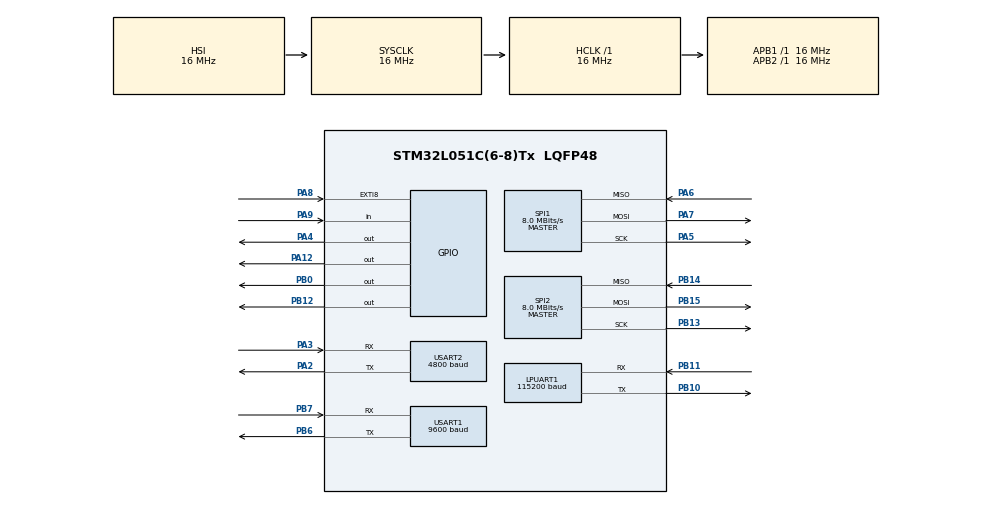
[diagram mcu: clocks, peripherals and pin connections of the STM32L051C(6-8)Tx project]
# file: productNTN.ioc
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LPUART1.BaudRate=115200
LPUART1.WordLength=UART_WORDLENGTH_8B
Mcu.Family=STM32L0
Mcu.Name=STM32L051C(6-8)Tx
Mcu.Package=LQFP48
NVIC.EXTI4_15_IRQn=true\:0\:0\:false\:false\:true\:true\:true\:true
NVIC.LPUART1_IRQn=true\:0\:0\:false\:false\:true\:true\:true\:true
NVIC.SPI1_IRQn=true\:0\:0\:false\:false\:true\:true\:true\:true
NVIC.USART1_IRQn=true\:0\:0\:false\:false\:true\:true\:true\:true
NVIC.USART2_IRQn=true\:0\:0\:false\:false\:true\:true\:true\:true
PA12.Signal=GPIO_Output
PA13.Mode=Serial_Wire
PA13.Signal=SYS_SWDIO
PA14.Mode=Serial_Wire
PA14.Signal=SYS_SWCLK
PA2.Mode=Asynchronous
PA2.Signal=USART2_TX
PA3.Mode=Asynchronous
PA3.Signal=USART2_RX
PA4.PinState=GPIO_PIN_SET
PA4.Signal=GPIO_Output
PA5.Mode=Full_Duplex_Master
PA5.Signal=SPI1_SCK
PA6.Mode=Full_Duplex_Master
PA6.Signal=SPI1_MISO
PA7.Mode=Full_Duplex_Master
PA7.Signal=SPI1_MOSI
PA8.GPIO_ModeDefaultEXTI=GPIO_MODE_IT_RISING
PA8.GPIO_PuPd=GPIO_NOPULL
PA8.Signal=GPXTI8
PA9.Signal=GPIO_Input
PB0.GPIO_Speed=GPIO_SPEED_FREQ_HIGH
PB0.PinState=GPIO_PIN_SET
PB0.Signal=GPIO_Output
PB10.Mode=Asynchronous
PB10.Signal=LPUART1_TX
PB11.Mode=Asynchronous
PB11.Signal=LPUART1_RX
PB12.Signal=GPIO_Output
PB13.Mode=Full_Duplex_Master
PB13.Signal=SPI2_SCK
PB14.Mode=Full_Duplex_Master
PB14.Signal=SPI2_MISO
PB15.Mode=Full_Duplex_Master
PB15.Signal=SPI2_MOSI
PB6.Mode=Asynchronous
PB6.Signal=USART1_TX
PB7.Mode=Asynchronous
PB7.Signal=USART1_RX
PC14-OSC32_IN.Mode=LSE-External-Oscillator
PC14-OSC32_IN.Signal=RCC_OSC32_IN
PC15-OSC32_OUT.Mode=LSE-External-Oscillator
PC15-OSC32_OUT.Signal=RCC_OSC32_OUT
ProjectManager.HeapSize=0x200
ProjectManager.StackSize=0x400
ProjectManager.TargetToolchain=STM32CubeIDE
RCC.AHBFreq_Value=16000000
RCC.APB1Freq_Value=16000000
RCC.APB1TimFreq_Value=16000000
RCC.APB2Freq_Value=16000000
RCC.APB2TimFreq_Value=16000000
RCC.HCLKFreq_Value=16000000
RCC.HSE_VALUE=8000000
RCC.HSI16_VALUE=16000000
RCC.HSI_VALUE=16000000
RCC.MSI_VALUE=2097000
RCC.SYSCLKFreq_VALUE=16000000
RCC.SYSCLKSource=RCC_SYSCLKSOURCE_HSI
RCC.VCOOutputFreq_Value=48000000
SPI1.CalculateBaudRate=8.0 MBits/s
SPI1.Direction=SPI_DIRECTION_2LINES
SPI1.Mode=SPI_MODE_MASTER
SPI1.VirtualType=VM_MASTER
SPI2.CalculateBaudRate=8.0 MBits/s
SPI2.Direction=SPI_DIRECTION_2LINES
SPI2.Mode=SPI_MODE_MASTER
SPI2.VirtualType=VM_MASTER
USART1.BaudRate=9600
USART1.VirtualMode-Asynchronous=VM_ASYNC
USART2.BaudRate=4800
USART2.VirtualMode-Asynchronous=VM_ASYNC
board=custom

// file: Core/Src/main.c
/* USER CODE BEGIN Header */
/**
  ******************************************************************************
  * @file           : main.c
  * @brief          : Main program body
  ******************************************************************************
  * @attention
  *
  * Copyright (c) 2025 STMicroelectronics.
  * All rights reserved.
  *
  * This software is licensed under terms that can be found in the LICENSE file
  * in the root directory of this software component.
  * If no LICENSE file comes with this software, it is provided AS-IS.
  *
  ******************************************************************************
  */
/* USER CODE END Header */
#include "main.h"
#include "usart.h"
#include "spi.h"
#include "gpio.h"

/* USER CODE BEGIN Includes */
#include "toNTN.h"
#include <string.h>
#include <stdio.h>
#include <stdlib.h>
#include "rs485.h"
#include "lorarx.h"     // ⭐ 新增：声明 loraSPI_ReceiveLoop / Lora_SimulateRxTestOnce

#include "ntn_config.h"
#include "usart.h"

/* USER CODE END Includes */

/* USER CODE BEGIN PD */
#define NTN_STABLE_MS 15000u
/* USER CODE END PD */

/* USER CODE BEGIN PV */
uint8_t lpuart_rx;      // 来自 PC 的单字节
uint8_t ntn_rx;         // 来自 NTN 的单字节

// PC -> NTN 命令缓冲（按行缓存，直到 CRLF）
uint8_t  pc_cmd_buf[128];
volatile uint16_t pc_cmd_idx   = 0;
volatile uint8_t  pc_cmd_ready = 0;

extern NetConfig g_ntn_cfg;
extern volatile int g_ntn_cfg_ready;
extern volatile int g_ntn_hello_done;
extern const void* g_llcc68_ctx;
extern volatile uint8_t g_llcc68_last_status;
// POWERON 检测用：只记录时间戳，不在中断里清大缓冲
static volatile uint32_t g_last_poweron_tick = 0;

volatile uint8_t g_lora_irq = 0;

// ✅ POWERON 按行检测用（避免 strstr 全缓冲导致反复命中）
static char     ntn_line[128];
static uint16_t ntn_line_idx = 0;

/* USER CODE END PV */

void SystemClock_Config(void);

/* USER CODE BEGIN 0 */
//波特率配置被成功写入硬件并生效//
void NTN_Config_OnSaved(const NtnConfig *cfg)
{
    // 只处理 RS485 USART2（安全）
    if (cfg->rs485_baud != 0 && huart2.Init.BaudRate != cfg->rs485_baud)
    {
        // 停掉正在进行的接收（更稳）
        HAL_UART_AbortReceive(&huart2);

        // 重新初始化 UART2
        HAL_UART_DeInit(&huart2);
        huart2.Init.BaudRate = cfg->rs485_baud;
        HAL_UART_Init(&huart2);

        // 重新启动 1-byte IT 接收
        RS485_UART_Init();

        // 可选：打印确认
        char buf[64];
        int n = snprintf(buf, sizeof(buf), "[CFG] RS485 baud applied: %lu\r\n",
                         (unsigned long)cfg->rs485_baud);
        HAL_UART_Transmit(&hlpuart1, (uint8_t*)buf, n, 200);
    }
}

/* USER CODE END 0 */

int main(void)
{

  /* MCU Configuration--------------------------------------------------------*/

  /* Reset of all peripherals, Initializes the Flash interface and the Systick. */
  HAL_Init();

  /* Configure the system clock */
  SystemClock_Config();

  /* Initialize all configured peripherals */
  MX_GPIO_Init();
  MX_LPUART1_UART_Init();
  MX_USART1_UART_Init();
  MX_USART2_UART_Init();
  MX_SPI1_Init();
  MX_SPI2_Init();
  /* USER CODE BEGIN 2 */
  NTN_Config_Init();
 HAL_UART_Receive_IT(&hlpuart1, &lpuart_rx, 1); // PC
  HAL_UART_Receive_IT(&huart1,   &ntn_rx,  1); // NTN

  // 上电后先给模块一些时间（你原来有 10s，这里保留）
  g_last_poweron_tick = HAL_GetTick();
  HAL_Delay(10000);

  // RS485
  RS485_UART_Init();

  // LoRa
  printf("BOOT RX\r\n");

  LoraRx_Init();
  /* USER CODE END 2 */

  /* Infinite loop */
  /* USER CODE BEGIN WHILE */

  uint32_t next_try_tick = HAL_GetTick() + 10000;
  uint32_t last_tick = 0;

  while (1)
  {

	  // 1) LoRa 永远处理（保证接收、回调、入队不断）
	      LoraRx_Process();

	      if (pc_cmd_ready)
	      {
	          __disable_irq();
	          uint16_t len = pc_cmd_idx;
	          pc_cmd_idx   = 0;
	          pc_cmd_ready = 0;
	          __enable_irq();

	          if (len > 0)
	          {
	              if (len >= sizeof(pc_cmd_buf)) len = sizeof(pc_cmd_buf) - 1;
	              pc_cmd_buf[len] = 0;

	              int consumed = 0;

	              // 只拦截配置命令（白名单）
	              if (!strncasecmp((char*)pc_cmd_buf, "AT+NTNCFG", 9) ||
	                  !strncasecmp((char*)pc_cmd_buf, "NTNCFG", 5))
	              {
	                  int r = NTN_Config_ProcessLine((const char*)pc_cmd_buf);

	                  if (r != 0)
	                  {
	                      consumed = 1;
	                      const char *resp = (r > 0) ? "OK\r\n" : "ERROR\r\n";
	                      HAL_UART_Transmit(&hlpuart1, (uint8_t*)resp, strlen(resp), 200);
	                  }
	              }

	              // 没被本地命令消费掉，才透传给 NTN
	              if (!consumed)
	              {
	                  char b[64];
	                  int n = snprintf(b, sizeof(b), "[PT] send to NTN len=%u\r\n", len);
	                  HAL_UART_Transmit(&hlpuart1, (uint8_t*)b, n, 200);
	                  HAL_UART_Transmit(&huart1, pc_cmd_buf, len, 1000);
	              }
	          }
	      }

	      // 2) 稳定窗口：只阻挡 NTN 自动流程，不阻挡 LoRa
	      static uint8_t stable_done = 0;

	      if (!stable_done)
	      {
	          if (HAL_GetTick() - g_last_poweron_tick < NTN_STABLE_MS)
	          {
	              HAL_Delay(10);
	              // 不要 continue，也可以；但这里 continue 没问题，因为只会持续15秒

	          }
	          stable_done = 1;
	      }

	       //C) 第一步：拉配置（cfg_ready==0 才拉）
	 	     if (g_ntn_cfg_ready == 0 && HAL_GetTick() >= next_try_tick)
	 	     {
	 	         g_ntn_cfg_ready  = 0;
	 	         g_ntn_hello_done = 0;

	 	         NTN_SendTest();   // 阻塞拉 cfg

	 	         if (g_ntn_cfg_ready)
	 	         {
	 	             printf("[MAIN] immediate HELLO after CFG\r\n");
	 	             HAL_Delay(1500);
	 	             int ok = NTN_SendHelloUsingCfg();
	 	             printf("[MAIN] HELLO result = %d\r\n", ok);

	 	             if (ok)
	 	             {
	 	                 g_ntn_hello_done = 1;
	 	                 printf("HELLO OK -> READY\r\n");
	 	             }
	 	             else
	 	             {
	 	                 g_ntn_cfg_ready  = 0;
	 	                 g_ntn_hello_done = 0;
	 	                 next_try_tick = HAL_GetTick() + 5000;
	 	             }
	 	         }

	 	         next_try_tick = HAL_GetTick() + 20000;
	 	     }

	      // D) 第二步：cfg_ready 之后发 hello
	 	   //  D) cfg_ready 之后发 hello：cfg ready 立刻尝试一次，失败再每 5s 重试
	 	    static uint32_t last_hello_try = 0;
	 	    static uint8_t  hello_tried_once_after_cfg = 0;   // 0=还没在本轮cfg ready后尝试过

	 	   // 如果 cfg 失效了，要把一次性标志复位
	 	    if (!g_ntn_cfg_ready) {
	 	        hello_tried_once_after_cfg = 0;
	 	    }

	 	    if (g_ntn_cfg_ready && !g_ntn_hello_done)
	 	    {
	 	        uint32_t now = HAL_GetTick();

	 	        int should_try = 0;

	 	       //  ✅ 1) cfg ready 后，立刻尝试一次（不等 5s）
	 	        if (!hello_tried_once_after_cfg) {
	 	            should_try = 1;
	 	            hello_tried_once_after_cfg = 1;
	 	        }
	 	        // ✅ 2) 后续失败：每 5 秒重试
	 	        else if (now - last_hello_try >= 5000) {
	 	            should_try = 1;
	 	        }

	 	        if (should_try)
	 	        {
	 	            last_hello_try = now;

	 	            printf("[MAIN] HELLO using CFG...\r\n");
	 	            int ok = NTN_SendHelloUsingCfg();
	 	            printf("[MAIN] HELLO result = %d\r\n", ok);

	 	            if (ok)
	 	            {
	 	                g_ntn_hello_done = 1;
	 	                printf("HELLO OK -> READY\r\n");

	 	                // ✅ 成功后复位节流计时（可选）
	 	                last_hello_try = 0;
	 	            }
	 	            else
	 	           {
	 	                // ✅ 如果 hello 失败，建议让系统重新拉 cfg（尤其遇到 CME8002/timeout）
	 	                // 如果你的 NTN_SendHelloUsingCfg 内部已经会把 cfg_ready=0，那这里不会重复影响
	 	               g_ntn_cfg_ready = 0;
	 	                // 同时也可以确保复用 socket 不再被使用（保险）
	 	               NTN_Invalidate_UserSock_AndCfg("[MAIN] HELLO failed -> invalidate cfg");

	 	                printf("[MAIN] HELLO failed -> invalidate CFG, refetch\r\n");
	 	            }
	 	        }
	 	    }

	      // E) RS485 周期任务
	      uint32_t now = HAL_GetTick();
	      if (!wind_active && now - last_tick >= 2000)
	      {
	          RS485_WindQuery_Start();

	          last_tick = now;
	      }
	        RS485_WindQuery_Poll();

	      // F) READY 后 flush LoRa 队列（节流）
	      static uint32_t last_flush = 0;
	      if (g_ntn_cfg_ready && g_ntn_hello_done)
	      {
	          if (HAL_GetTick() - last_flush >= 1000)
	         {
	              last_flush = HAL_GetTick();
	              NTN_FlushLoRaQueue();
	          }
	      }

	      HAL_Delay(1); // 放最后，给一点 CPU 让步

    /* USER CODE END WHILE */

  }
}

void SystemClock_Config(void)
{
  RCC_OscInitTypeDef RCC_OscInitStruct = {0};
  RCC_ClkInitTypeDef RCC_ClkInitStruct = {0};
  RCC_PeriphCLKInitTypeDef PeriphClkInit = {0};

  /** Configure the main internal regulator output voltage
  */
  __HAL_PWR_VOLTAGESCALING_CONFIG(PWR_REGULATOR_VOLTAGE_SCALE1);

  /** Initializes the RCC Oscillators according to the specified parameters
  * in the RCC_OscInitTypeDef structure.
  */
  RCC_OscInitStruct.OscillatorType = RCC_OSCILLATORTYPE_HSI;
  RCC_OscInitStruct.HSIState = RCC_HSI_ON;
  RCC_OscInitStruct.HSICalibrationValue = RCC_HSICALIBRATION_DEFAULT;
  RCC_OscInitStruct.PLL.PLLState = RCC_PLL_NONE;
  if (HAL_RCC_OscConfig(&RCC_OscInitStruct) != HAL_OK)
  {
    Error_Handler();
  }

  /** Initializes the CPU, AHB and APB buses clocks
  */
  RCC_ClkInitStruct.ClockType = RCC_CLOCKTYPE_HCLK|RCC_CLOCKTYPE_SYSCLK
                              |RCC_CLOCKTYPE_PCLK1|RCC_CLOCKTYPE_PCLK2;
  RCC_ClkInitStruct.SYSCLKSource = RCC_SYSCLKSOURCE_HSI;
  RCC_ClkInitStruct.AHBCLKDivider = RCC_SYSCLK_DIV1;
  RCC_ClkInitStruct.APB1CLKDivider = RCC_HCLK_DIV1;
  RCC_ClkInitStruct.APB2CLKDivider = RCC_HCLK_DIV1;

  if (HAL_RCC_ClockConfig(&RCC_ClkInitStruct, FLASH_LATENCY_0) != HAL_OK)
  {
    Error_Handler();
  }
  PeriphClkInit.PeriphClockSelection = RCC_PERIPHCLK_USART1|RCC_PERIPHCLK_USART2
                              |RCC_PERIPHCLK_LPUART1;
  PeriphClkInit.Usart1ClockSelection = RCC_USART1CLKSOURCE_PCLK2;
  PeriphClkInit.Usart2ClockSelection = RCC_USART2CLKSOURCE_PCLK1;
  PeriphClkInit.Lpuart1ClockSelection = RCC_LPUART1CLKSOURCE_PCLK1;
  if (HAL_RCCEx_PeriphCLKConfig(&PeriphClkInit) != HAL_OK)
  {
    Error_Handler();
  }
}

/* USER CODE BEGIN 4 */

// 串口中断回调：做透传桥

void HAL_UART_RxCpltCallback(UART_HandleTypeDef *huart)
{
    // PC -> MCU (LPUART1)
    if (huart->Instance == LPUART1)
    {
        uint8_t ch = lpuart_rx;

        if (pc_cmd_idx < sizeof(pc_cmd_buf))
        {
            pc_cmd_buf[pc_cmd_idx++] = ch;

            // CRLF: 0x0D 0x0A
            if (ch == 0x0A && pc_cmd_idx >= 2 &&
                pc_cmd_buf[pc_cmd_idx - 2] == 0x0D)
            {
                pc_cmd_ready = 1;
            }
        }
        else
        {
            pc_cmd_idx   = 0;
            pc_cmd_ready = 0;
        }

        HAL_UART_Receive_IT(&hlpuart1, &lpuart_rx, 1);
        return;
    }

    // RS485 -> MCU (USART2)
    if (huart->Instance == USART2)
    {
        RS485_UART_RxHandler();
        HAL_UART_Receive_IT(&huart2, &rs485_rx_byte, 1);
        return;
    }

    // NTN -> MCU (USART1)
    if (huart->Instance == USART1)
    {
        // 1) 实时回显到 PC
    	if (hlpuart1.gState == HAL_UART_STATE_READY)
    	{
    	    (void)HAL_UART_Transmit(&hlpuart1, &ntn_rx, 1, 0);
    	}

        // 2) 缓存到 ntn_rx_buf（给 toNTN.c 的解析使用）
        if (ntn_rx_len < (int)sizeof(ntn_rx_buf) - 1)
        {
            ntn_rx_buf[ntn_rx_len++] = ntn_rx;
            ntn_rx_buf[ntn_rx_len]   = '\0';
        }

        // ✅ 3) POWERON 检测：只检查“当前行”，不要 strstr 大缓冲
        if (ntn_line_idx < sizeof(ntn_line) - 1)
        {
            ntn_line[ntn_line_idx++] = (char)ntn_rx;
            ntn_line[ntn_line_idx] = '\0';
        }

        if (ntn_rx == '\n')
        {
            if (strstr(ntn_line, "+POWERON:"))
            {
                g_last_poweron_tick = HAL_GetTick();
                HAL_UART_Transmit(&hlpuart1,
                                  (uint8_t*)"[NTN] POWERON detected\r\n",
                                  strlen("[NTN] POWERON detected\r\n"), 100);
            }

            // 行结束，清掉行缓冲
            ntn_line_idx = 0;
            ntn_line[0]  = '\0';
        }

        HAL_UART_Receive_IT(&huart1, &ntn_rx, 1);
        return;
    }
}

void HAL_GPIO_EXTI_Callback(uint16_t GPIO_Pin)
{
    if (GPIO_Pin == GPIO_PIN_8)
    {
    	LoraRx_IrqNotify();
    }
}
/* USER CODE END 4 */

void Error_Handler(void)
{
  __disable_irq();
  while (1)
  {
  }
}
